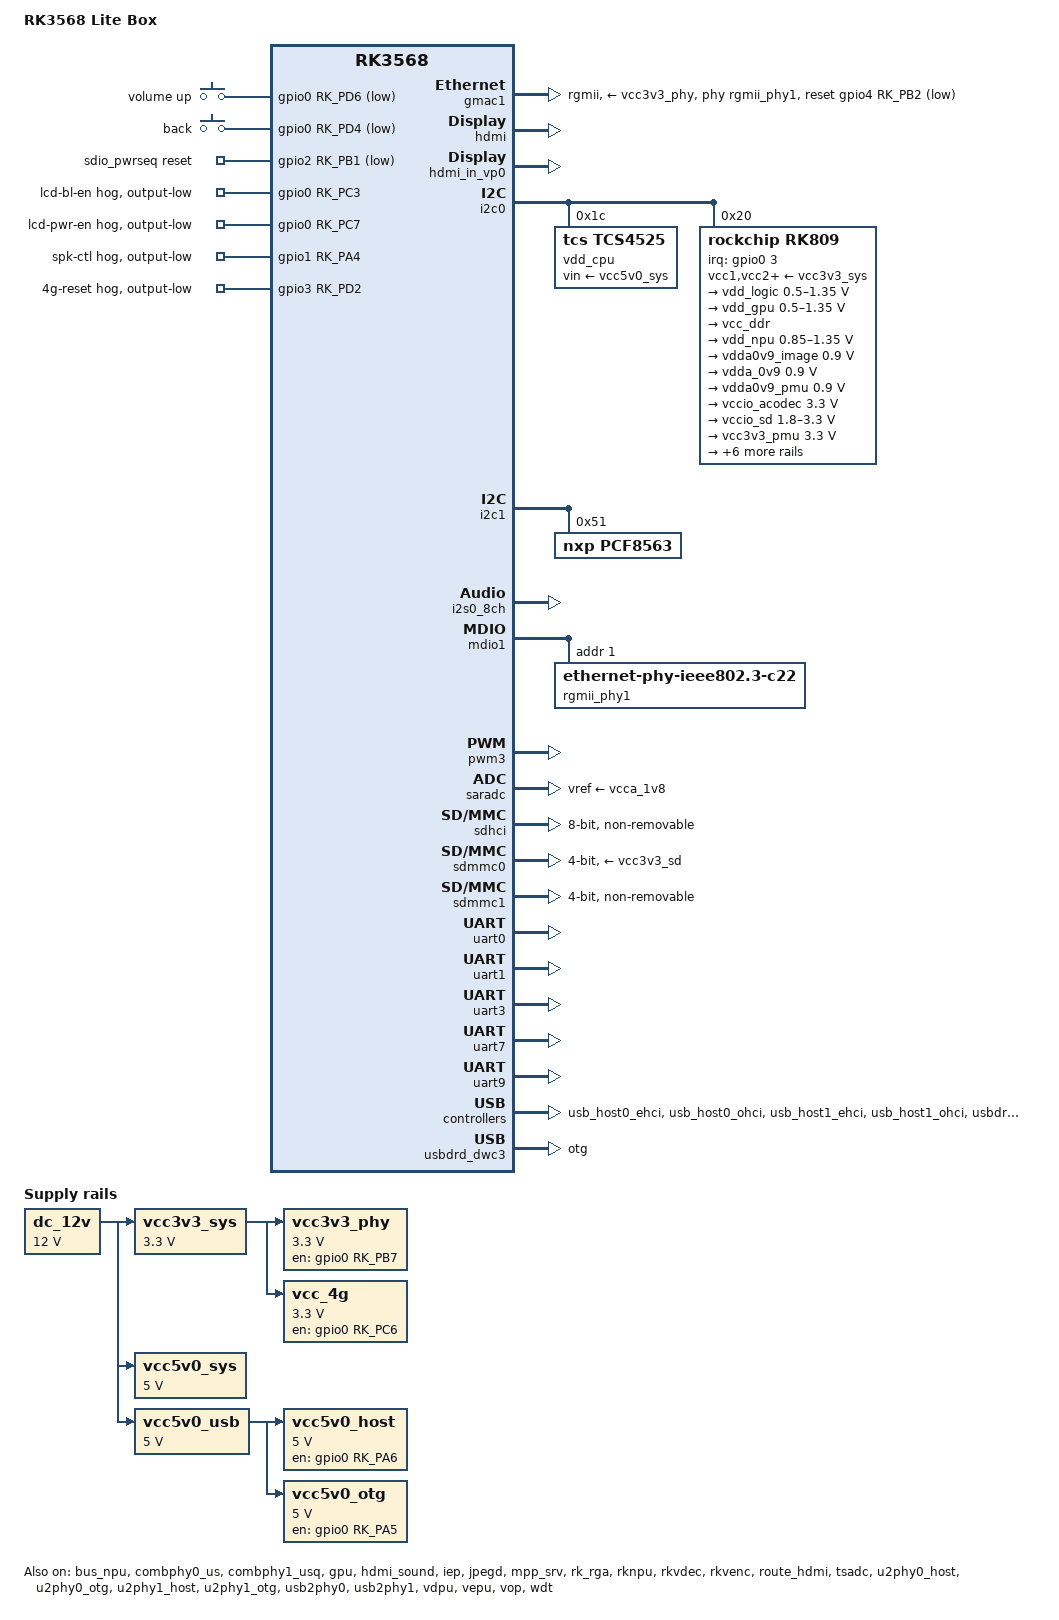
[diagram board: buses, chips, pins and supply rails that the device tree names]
// SPDX-License-Identifier: (GPL-2.0+ OR MIT)
/*
 * RK3568 Lite Box (vendor board "RK35-3500", HDMI variant)
 * Rockchip RK3568, 4GB LPDDR4X, 32GB eMMC, RK809 + TCS4525, RTL8211F, PCF8563
 *
 * Vendor model string: "Rockchip RK3568 RK35-3500 hdmi Board"
 * Vendor compatible:   "rockchip,rk3568-3500-lp4x-hdmi"
 *
 * Ported to the Rockchip 6.12 BSP kernel from the device tree of the vendor
 * 4.19 image (which itself is derived from rk3568-evb2-lp4x-v10). Everything
 * here was cross-checked against the running vendor system; EVB leftovers that
 * are not wired on this board were dropped, see the notes next to each node.
 */

/dts-v1/;

#include <dt-bindings/gpio/gpio.h>
#include <dt-bindings/input/input.h>
#include <dt-bindings/input/rk-input.h>
#include <dt-bindings/pinctrl/rockchip.h>
#include "rk3568.dtsi"
#include "rk3568-linux.dtsi"

/ {
	model = "RK3568 Lite Box";
	compatible = "rockchip,rk3568-3500-lp4x-hdmi", "rockchip,rk3568";

	/* bootargs come from U-Boot (boot.scr), not from the BSP default */
	/delete-node/ chosen;

	aliases {
		/* the only Ethernet port is on GMAC1 */
		ethernet0 = &gmac1;
		/delete-property/ ethernet1;

		/* the battery backed RTC is the PCF8563, not the one in the RK809 */
		rtc0 = &pcf8563;
		rtc1 = &rk809;

		/*
		 * Same /dev/ttyS* numbering as the vendor image, so that the
		 * port numbers used by existing applications stay valid:
		 *   ttyS0 = UART0, ttyS1 = UART1, ttyS2 = UART3,
		 *   ttyS3 = UART7, ttyS4 = UART9
		 * UART2 is the debug port (FIQ debugger, ttyFIQ0, 1500000 8N1).
		 */
		serial0 = &uart0;
		serial1 = &uart1;
		serial2 = &uart3;
		serial3 = &uart7;
		serial4 = &uart9;
		serial5 = &uart2;
		serial6 = &uart6;
		serial7 = &uart5;
		serial8 = &uart8;
		serial9 = &uart4;
	};

	/* serial5 is UART2 with the alias table above */
	fiq-debugger {
		rockchip,serial-id = <5>;
	};

	dc_12v: dc-12v {
		compatible = "regulator-fixed";
		regulator-name = "dc_12v";
		regulator-always-on;
		regulator-boot-on;
		regulator-min-microvolt = <12000000>;
		regulator-max-microvolt = <12000000>;
	};

	vcc3v3_sys: vcc3v3-sys {
		compatible = "regulator-fixed";
		regulator-name = "vcc3v3_sys";
		regulator-always-on;
		regulator-boot-on;
		regulator-min-microvolt = <3300000>;
		regulator-max-microvolt = <3300000>;
		vin-supply = <&dc_12v>;
	};

	vcc5v0_sys: vcc5v0-sys {
		compatible = "regulator-fixed";
		regulator-name = "vcc5v0_sys";
		regulator-always-on;
		regulator-boot-on;
		regulator-min-microvolt = <5000000>;
		regulator-max-microvolt = <5000000>;
		vin-supply = <&dc_12v>;
	};

	vcc5v0_usb: vcc5v0-usb {
		compatible = "regulator-fixed";
		regulator-name = "vcc5v0_usb";
		regulator-always-on;
		regulator-boot-on;
		regulator-min-microvolt = <5000000>;
		regulator-max-microvolt = <5000000>;
		vin-supply = <&dc_12v>;
	};

	vcc5v0_host: vcc5v0-host-regulator {
		compatible = "regulator-fixed";
		regulator-name = "vcc5v0_host";
		regulator-boot-on;
		regulator-always-on;
		regulator-min-microvolt = <5000000>;
		regulator-max-microvolt = <5000000>;
		enable-active-high;
		gpio = <&gpio0 RK_PA6 GPIO_ACTIVE_HIGH>;
		vin-supply = <&vcc5v0_usb>;
		pinctrl-names = "default";
		pinctrl-0 = <&vcc5v0_host_en>;
	};

	vcc5v0_otg: vcc5v0-otg-regulator {
		compatible = "regulator-fixed";
		regulator-name = "vcc5v0_otg";
		regulator-min-microvolt = <5000000>;
		regulator-max-microvolt = <5000000>;
		enable-active-high;
		gpio = <&gpio0 RK_PA5 GPIO_ACTIVE_HIGH>;
		vin-supply = <&vcc5v0_usb>;
		pinctrl-names = "default";
		pinctrl-0 = <&vcc5v0_otg_en>;
	};

	/*
	 * GPIO0_B7 is the "qsgmii_3v3" phy-supply of the vendor device tree
	 * (inherited from EVB2), and the vendor kernel drives it high all the
	 * time. The vendor GPIO test script also lists this pin as user GPIO 5,
	 * so it may not really switch the PHY rail. Ethernet is the only way
	 * into a headless box, so keep exactly the vendor behaviour: high.
	 */
	vcc3v3_phy: vcc3v3-phy-regulator {
		compatible = "regulator-fixed";
		regulator-name = "vcc3v3_phy";
		regulator-always-on;
		regulator-boot-on;
		regulator-min-microvolt = <3300000>;
		regulator-max-microvolt = <3300000>;
		enable-active-high;
		gpio = <&gpio0 RK_PB7 GPIO_ACTIVE_HIGH>;
		vin-supply = <&vcc3v3_sys>;
		pinctrl-names = "default";
		pinctrl-0 = <&vcc3v3_phy_en>;
	};

	/* power enable of the 4G modem slot ("4g_pwr_gpio" of the vendor phone_option driver) */
	vcc_4g: vcc-4g-regulator {
		compatible = "regulator-fixed";
		regulator-name = "vcc_4g";
		regulator-always-on;
		regulator-boot-on;
		regulator-min-microvolt = <3300000>;
		regulator-max-microvolt = <3300000>;
		enable-active-high;
		gpio = <&gpio0 RK_PC6 GPIO_ACTIVE_HIGH>;
		vin-supply = <&vcc3v3_sys>;
		pinctrl-names = "default";
		pinctrl-0 = <&vcc_4g_en>;
	};

	gpio-keys {
		compatible = "gpio-keys";
		autorepeat;
		pinctrl-names = "default";
		pinctrl-0 = <&user_keys>;

		key-volume-up {
			label = "volume up";
			linux,code = <KEY_VOLUMEUP>;
			gpios = <&gpio0 RK_PD6 GPIO_ACTIVE_LOW>;
		};

		key-back {
			label = "back";
			linux,code = <KEY_BACK>;
			gpios = <&gpio0 RK_PD4 GPIO_ACTIVE_LOW>;
		};
	};

	/*
	 * No "leds" node on purpose: the "work" LED of the vendor device tree
	 * sits on GPIO0_C0, which is the RX pin of UART0. On the vendor image
	 * that pin is muxed to UART0 (ttyS0 is a working port), so the LED
	 * definition is a dead leftover of the EVB. Add a gpio-leds node here
	 * once the GPIO of a real LED is known.
	 */

	/* optional SDIO Wi-Fi module (AP6212 footprint), not populated on every unit */
	sdio_pwrseq: sdio-pwrseq {
		compatible = "mmc-pwrseq-simple";
		clocks = <&rk809 1>;
		clock-names = "ext_clock";
		pinctrl-names = "default";
		pinctrl-0 = <&wifi_enable_h>;
		post-power-on-delay-ms = <200>;
		reset-gpios = <&gpio2 RK_PB1 GPIO_ACTIVE_LOW>;
	};
};

&bus_npu {
	bus-supply = <&vdd_logic>;
	pvtm-supply = <&vdd_cpu>;
	status = "okay";
};

&combphy0_us {
	status = "okay";
};

&combphy1_usq {
	status = "okay";
};

&cpu0 {
	cpu-supply = <&vdd_cpu>;
};

/*
 * &dmc (DDR frequency scaling) stays disabled: it never worked on the vendor
 * image either ("Cannot get the clk dmc_clk"), so the DDR runs at the fixed
 * frequency set up by the DDR init blob.
 */

/*
 * The GIC600 of the RK356x cannot access its LPI and ITS tables with the
 * shareable/cacheable attributes the driver asks for. Mainline flags both
 * nodes as dma-noncoherent, the 6.12 BSP rk356x.dtsi does not: without it
 * every ITS command times out (about 9s of extra boot time, no MSI).
 */
&gic {
	dma-noncoherent;
};

&its {
	dma-noncoherent;
};

&gmac1 {
	phy-mode = "rgmii";
	/* the 125MHz RGMII clock comes from the PHY (CLKOUT -> GPIO4_C1) */
	clock_in_out = "input";
	phy-supply = <&vcc3v3_phy>;

	snps,reset-gpio = <&gpio4 RK_PB2 GPIO_ACTIVE_LOW>;
	snps,reset-active-low;
	/* Reset time is 20ms, 100ms for rtl8211f */
	snps,reset-delays-us = <0 20000 100000>;

	assigned-clocks = <&cru SCLK_GMAC1_RX_TX>, <&cru SCLK_GMAC1>, <&cru CLK_MAC1_OUT>;
	assigned-clock-parents = <&cru SCLK_GMAC1_RGMII_SPEED>, <&gmac1_clkin>;
	assigned-clock-rates = <0>, <125000000>, <25000000>;

	pinctrl-names = "default";
	pinctrl-0 = <&gmac1m1_miim
		     &gmac1m1_tx_bus2
		     &gmac1m1_rx_bus2
		     &gmac1m1_rgmii_clk
		     &gmac1m1_rgmii_bus
		     &eth1m1_pins
		     &gmac1m1_clkinout>;

	/*
	 * The RTL8211F is strapped for no internal delay (TXDLY=0, RXDLY=0,
	 * read back from the PHY), both delays are added by the MAC.
	 */
	tx_delay = <0x4f>;
	rx_delay = <0x26>;

	phy-handle = <&rgmii_phy1>;
	status = "okay";
};

&gpio0 {
	/*
	 * LCD connector is unused on the HDMI variant: keep the panel supply
	 * (vcc3v3_lcd0_n) and the backlight enable low, like the vendor image.
	 */
	lcd-bl-en-hog {
		gpio-hog;
		gpios = <RK_PC3 GPIO_ACTIVE_HIGH>;
		output-low;
		line-name = "lcd-bl-en";
	};

	lcd-pwr-en-hog {
		gpio-hog;
		gpios = <RK_PC7 GPIO_ACTIVE_HIGH>;
		output-low;
		line-name = "lcd-pwr-en";
	};
};

&gpio1 {
	/*
	 * User GPIOs 1-4 of the vendor "ala-gpio" node / ala-test.sh
	 * (sysfs numbers 57..60 on the vendor kernel).
	 */
	gpio-line-names =
		/* A0-A7 */ "", "", "", "", "", "", "", "",
		/* B0-B7 */ "", "", "", "", "", "", "", "",
		/* C0-C7 */ "", "", "", "", "", "", "", "",
		/* D0-D7 */ "", "ala-gpio1", "ala-gpio2", "ala-gpio3", "ala-gpio4", "", "", "";

	/* speaker amplifier enable of the (unused) RK809 codec: off, like the vendor image */
	spk-ctl-hog {
		gpio-hog;
		gpios = <RK_PA4 GPIO_ACTIVE_HIGH>;
		output-low;
		line-name = "spk-ctl";
	};
};

&gpio3 {
	/* user GPIOs 6 and 7 (vendor sysfs numbers 121 and 123) */
	gpio-line-names =
		/* A0-A7 */ "", "", "", "", "", "", "", "",
		/* B0-B7 */ "", "", "", "", "", "", "", "",
		/* C0-C7 */ "", "", "", "", "", "", "", "",
		/* D0-D7 */ "", "ala-gpio6", "", "ala-gpio7", "", "", "", "";

	/* "4g_reset_gpio" of the vendor phone_option driver: keep the modem out of reset */
	modem-reset-hog {
		gpio-hog;
		gpios = <RK_PD2 GPIO_ACTIVE_HIGH>;
		output-low;
		line-name = "4g-reset";
	};
};

&gpio4 {
	/* user GPIO 8 (vendor sysfs number 154) */
	gpio-line-names =
		/* A0-A7 */ "", "", "", "", "", "", "", "",
		/* B0-B7 */ "", "", "", "", "", "", "", "",
		/* C0-C7 */ "", "", "", "", "", "", "", "",
		/* D0-D7 */ "", "", "ala-gpio8", "", "", "", "", "";
};

/* Mali-G52: driven by Panfrost (the Armbian vendor kernel does not build the Mali kbase driver) */
&gpu {
	mali-supply = <&vdd_gpu>;
	status = "okay";
};

&hdmi {
	status = "okay";
	rockchip,phy-table =
		<92812500  0x8009 0x0000 0x0270>,
		<165000000 0x800b 0x0000 0x026d>,
		<185625000 0x800b 0x0000 0x01ed>,
		<297000000 0x800b 0x0000 0x01ad>,
		<594000000 0x8029 0x0000 0x0088>,
		<000000000 0x0000 0x0000 0x0000>;
};

&hdmi_in_vp0 {
	status = "okay";
};

&hdmi_in_vp1 {
	status = "disabled";
};

&hdmi_sound {
	status = "okay";
};

&i2c0 {
	status = "okay";

	vdd_cpu: tcs4525@1c {
		compatible = "tcs,tcs4525";
		reg = <0x1c>;
		vin-supply = <&vcc5v0_sys>;
		regulator-compatible = "fan53555-reg";
		regulator-name = "vdd_cpu";
		regulator-min-microvolt = <712500>;
		regulator-max-microvolt = <1390000>;
		regulator-init-microvolt = <900000>;
		regulator-ramp-delay = <2300>;
		fcs,suspend-voltage-selector = <1>;
		regulator-boot-on;
		regulator-always-on;

		regulator-state-mem {
			regulator-off-in-suspend;
		};
	};

	rk809: pmic@20 {
		compatible = "rockchip,rk809";
		reg = <0x20>;
		interrupt-parent = <&gpio0>;
		interrupts = <3 IRQ_TYPE_LEVEL_LOW>;

		pinctrl-names = "default", "pmic-sleep",
				"pmic-power-off", "pmic-reset";
		pinctrl-0 = <&pmic_int>;
		pinctrl-1 = <&soc_slppin_slp>;
		pinctrl-2 = <&soc_slppin_gpio>;
		pinctrl-3 = <&soc_slppin_gpio>;

		rockchip,system-power-controller;
		wakeup-source;
		#clock-cells = <1>;
		clock-output-names = "rk808-clkout1", "rk808-clkout2";
		/* 1: rst regs (default in codes), 0: rst the pmic */
		pmic-reset-func = <0>;
		/* not save the PMIC_POWER_EN register in uboot */
		not-save-power-en = <1>;

		vcc1-supply = <&vcc3v3_sys>;
		vcc2-supply = <&vcc3v3_sys>;
		vcc3-supply = <&vcc3v3_sys>;
		vcc4-supply = <&vcc3v3_sys>;
		vcc5-supply = <&vcc3v3_sys>;
		vcc6-supply = <&vcc3v3_sys>;
		vcc7-supply = <&vcc3v3_sys>;
		vcc8-supply = <&vcc3v3_sys>;
		vcc9-supply = <&vcc3v3_sys>;

		pwrkey {
			status = "okay";
		};

		regulators {
			vdd_logic: DCDC_REG1 {
				regulator-always-on;
				regulator-boot-on;
				regulator-min-microvolt = <500000>;
				regulator-max-microvolt = <1350000>;
				regulator-init-microvolt = <900000>;
				regulator-ramp-delay = <6001>;
				regulator-initial-mode = <0x2>;
				regulator-name = "vdd_logic";

				regulator-state-mem {
					regulator-off-in-suspend;
				};
			};

			vdd_gpu: DCDC_REG2 {
				regulator-always-on;
				regulator-boot-on;
				regulator-min-microvolt = <500000>;
				regulator-max-microvolt = <1350000>;
				regulator-init-microvolt = <900000>;
				regulator-ramp-delay = <6001>;
				regulator-initial-mode = <0x2>;
				regulator-name = "vdd_gpu";

				regulator-state-mem {
					regulator-off-in-suspend;
				};
			};

			vcc_ddr: DCDC_REG3 {
				regulator-always-on;
				regulator-boot-on;
				regulator-initial-mode = <0x2>;
				regulator-name = "vcc_ddr";

				regulator-state-mem {
					regulator-on-in-suspend;
				};
			};

			/*
			 * The RK809 powers up with this rail at 0.5V and the
			 * mainline U-Boot used here does not touch the PMIC
			 * (the vendor loader raised it to 0.9V). The kernel
			 * ignores regulator-init-microvolt, so the lowest
			 * NPU OPP voltage is used as the minimum: the rail
			 * is then brought into range as soon as the PMIC
			 * probes. Powering the NPU domain at 0.5V panics
			 * the BSP kernel ("panic_on_set_idle").
			 */
			vdd_npu: DCDC_REG4 {
				regulator-always-on;
				regulator-boot-on;
				regulator-min-microvolt = <850000>;
				regulator-max-microvolt = <1350000>;
				regulator-init-microvolt = <900000>;
				regulator-ramp-delay = <6001>;
				regulator-initial-mode = <0x2>;
				regulator-name = "vdd_npu";

				regulator-state-mem {
					regulator-off-in-suspend;
				};
			};

			vdda0v9_image: LDO_REG1 {
				regulator-boot-on;
				regulator-always-on;
				regulator-min-microvolt = <900000>;
				regulator-max-microvolt = <900000>;
				regulator-name = "vdda0v9_image";

				regulator-state-mem {
					regulator-off-in-suspend;
				};
			};

			vdda_0v9: LDO_REG2 {
				regulator-always-on;
				regulator-boot-on;
				regulator-min-microvolt = <900000>;
				regulator-max-microvolt = <900000>;
				regulator-name = "vdda_0v9";

				regulator-state-mem {
					regulator-off-in-suspend;
				};
			};

			vdda0v9_pmu: LDO_REG3 {
				regulator-always-on;
				regulator-boot-on;
				regulator-min-microvolt = <900000>;
				regulator-max-microvolt = <900000>;
				regulator-name = "vdda0v9_pmu";

				regulator-state-mem {
					regulator-on-in-suspend;
					regulator-suspend-microvolt = <900000>;
				};
			};

			/* 3.3V on this board (EVB: 3.0V), it feeds the VCCIO1 domain */
			vccio_acodec: LDO_REG4 {
				regulator-always-on;
				regulator-boot-on;
				regulator-min-microvolt = <3300000>;
				regulator-max-microvolt = <3300000>;
				regulator-name = "vccio_acodec";

				regulator-state-mem {
					regulator-off-in-suspend;
				};
			};

			vccio_sd: LDO_REG5 {
				regulator-always-on;
				regulator-boot-on;
				regulator-min-microvolt = <1800000>;
				regulator-max-microvolt = <3300000>;
				regulator-name = "vccio_sd";

				regulator-state-mem {
					regulator-off-in-suspend;
				};
			};

			vcc3v3_pmu: LDO_REG6 {
				regulator-always-on;
				regulator-boot-on;
				regulator-min-microvolt = <3300000>;
				regulator-max-microvolt = <3300000>;
				regulator-name = "vcc3v3_pmu";

				regulator-state-mem {
					regulator-on-in-suspend;
					regulator-suspend-microvolt = <3300000>;
				};
			};

			vcca_1v8: LDO_REG7 {
				regulator-always-on;
				regulator-boot-on;
				regulator-min-microvolt = <1800000>;
				regulator-max-microvolt = <1800000>;
				regulator-name = "vcca_1v8";

				regulator-state-mem {
					regulator-off-in-suspend;
				};
			};

			vcca1v8_pmu: LDO_REG8 {
				regulator-always-on;
				regulator-boot-on;
				regulator-min-microvolt = <1800000>;
				regulator-max-microvolt = <1800000>;
				regulator-name = "vcca1v8_pmu";

				regulator-state-mem {
					regulator-on-in-suspend;
					regulator-suspend-microvolt = <1800000>;
				};
			};

			vcca1v8_image: LDO_REG9 {
				regulator-always-on;
				regulator-boot-on;
				regulator-min-microvolt = <1800000>;
				regulator-max-microvolt = <1800000>;
				regulator-name = "vcca1v8_image";

				regulator-state-mem {
					regulator-off-in-suspend;
				};
			};

			vcc_1v8: DCDC_REG5 {
				regulator-always-on;
				regulator-boot-on;
				regulator-min-microvolt = <1800000>;
				regulator-max-microvolt = <1800000>;
				regulator-name = "vcc_1v8";

				regulator-state-mem {
					regulator-off-in-suspend;
				};
			};

			vcc_3v3: SWITCH_REG1 {
				regulator-always-on;
				regulator-boot-on;
				regulator-name = "vcc_3v3";

				regulator-state-mem {
					regulator-off-in-suspend;
				};
			};

			vcc3v3_sd: SWITCH_REG2 {
				regulator-always-on;
				regulator-boot-on;
				regulator-name = "vcc3v3_sd";

				regulator-state-mem {
					regulator-off-in-suspend;
				};
			};
		};

		/*
		 * The RK809 audio codec is not used on this board (disabled
		 * in the vendor device tree as well), HDMI is the only sound
		 * output.
		 */
	};
};

&i2c1 {
	status = "okay";

	pcf8563: rtc@51 {
		compatible = "nxp,pcf8563";
		reg = <0x51>;
		#clock-cells = <0>;
		clock-output-names = "pcf8563_xin32k";
	};
};

/* HDMI audio */
&i2s0_8ch {
	status = "okay";
};

&iep {
	status = "okay";
};

&iep_mmu {
	status = "okay";
};

&jpegd {
	status = "okay";
};

&jpegd_mmu {
	status = "okay";
};

&mdio1 {
	/*
	 * RTL8211F, strapped to address 1 (it also answers on the broadcast
	 * address 0, which is what the vendor device tree used). Its 25MHz
	 * reference is the ETH1_REFCLKO_25M output of the SoC.
	 */
	rgmii_phy1: ethernet-phy@1 {
		compatible = "ethernet-phy-ieee802.3-c22";
		reg = <0x1>;
		clocks = <&cru CLK_MAC1_OUT>;
	};
};

&mpp_srv {
	status = "okay";
};

&pinctrl {
	keys {
		user_keys: user-keys {
			rockchip,pins =
				<0 RK_PD4 RK_FUNC_GPIO &pcfg_pull_up>,
				<0 RK_PD6 RK_FUNC_GPIO &pcfg_pull_up>;
		};
	};

	modem {
		vcc_4g_en: vcc-4g-en {
			rockchip,pins = <0 RK_PC6 RK_FUNC_GPIO &pcfg_pull_none>;
		};
	};

	net {
		vcc3v3_phy_en: vcc3v3-phy-en {
			rockchip,pins = <0 RK_PB7 RK_FUNC_GPIO &pcfg_pull_none>;
		};
	};

	pmic {
		pmic_int: pmic_int {
			rockchip,pins =
				<0 RK_PA3 RK_FUNC_GPIO &pcfg_pull_up>;
		};

		soc_slppin_gpio: soc_slppin_gpio {
			rockchip,pins =
				<0 RK_PA2 RK_FUNC_GPIO &pcfg_output_low>;
		};

		soc_slppin_slp: soc_slppin_slp {
			rockchip,pins =
				<0 RK_PA2 1 &pcfg_pull_none>;
		};

		soc_slppin_rst: soc_slppin_rst {
			rockchip,pins =
				<0 RK_PA2 2 &pcfg_pull_none>;
		};
	};

	sdio-pwrseq {
		wifi_enable_h: wifi-enable-h {
			rockchip,pins = <2 RK_PB1 RK_FUNC_GPIO &pcfg_pull_none>;
		};
	};

	usb {
		vcc5v0_host_en: vcc5v0-host-en {
			rockchip,pins = <0 RK_PA6 RK_FUNC_GPIO &pcfg_pull_none>;
		};

		vcc5v0_otg_en: vcc5v0-otg-en {
			rockchip,pins = <0 RK_PA5 RK_FUNC_GPIO &pcfg_pull_none>;
		};
	};
};

/*
 * PMUIO2 and VCCIO1/VCCIO[3:7] must match the hardware rails. These are the
 * values of the vendor device tree; note VCCIO4 is 1.8V on this board.
 */
&pmu_io_domains {
	status = "okay";
	pmuio2-supply = <&vcc3v3_pmu>;
	vccio1-supply = <&vccio_acodec>;
	vccio3-supply = <&vccio_sd>;
	vccio4-supply = <&vcc_1v8>;
	vccio5-supply = <&vcc_3v3>;
	vccio6-supply = <&vcc_3v3>;
	vccio7-supply = <&vcc_3v3>;
};

/* IR receiver on PWM3 (GPIO0_C2), key maps as in the vendor device tree */
&pwm3 {
	status = "okay";

	compatible = "rockchip,remotectl-pwm";
	remote_pwm_id = <3>;
	handle_cpu_id = <1>;
	remote_support_psci = <0>;
	pinctrl-names = "default";
	pinctrl-0 = <&pwm3_pins>;

	ir_key1 {
		rockchip,usercode = <0x4040>;
		rockchip,key_table =
			<0xf2	KEY_REPLY>,
			<0xba	KEY_BACK>,
			<0xf4	KEY_UP>,
			<0xf1	KEY_DOWN>,
			<0xef	KEY_LEFT>,
			<0xee	KEY_RIGHT>,
			<0xbd	KEY_HOME>,
			<0xea	KEY_VOLUMEUP>,
			<0xe3	KEY_VOLUMEDOWN>,
			<0xe2	KEY_SEARCH>,
			<0xb2	KEY_POWER>,
			<0xbc	KEY_MUTE>,
			<0xec	KEY_MENU>,
			<0xbf	0x190>,
			<0xe0	0x191>,
			<0xe1	0x192>,
			<0xe9	183>,
			<0xe6	248>,
			<0xe8	185>,
			<0xe7	186>,
			<0xf0	388>,
			<0xbe	0x175>;
	};

	ir_key2 {
		rockchip,usercode = <0xff00>;
		rockchip,key_table =
			<0xf9	KEY_HOME>,
			<0xbf	KEY_BACK>,
			<0xfb	KEY_MENU>,
			<0xaa	KEY_REPLY>,
			<0xb9	KEY_UP>,
			<0xe9	KEY_DOWN>,
			<0xb8	KEY_LEFT>,
			<0xea	KEY_RIGHT>,
			<0xeb	KEY_VOLUMEDOWN>,
			<0xef	KEY_VOLUMEUP>,
			<0xf7	KEY_MUTE>,
			<0xe7	KEY_POWER>,
			<0xfc	KEY_POWER>,
			<0xa9	KEY_VOLUMEDOWN>,
			<0xa8	KEY_VOLUMEDOWN>,
			<0xe0	KEY_VOLUMEDOWN>,
			<0xa5	KEY_VOLUMEDOWN>,
			<0xab	183>,
			<0xb7	388>,
			<0xe8	388>,
			<0xf8	184>,
			<0xaf	185>,
			<0xed	KEY_VOLUMEDOWN>,
			<0xee	186>,
			<0xb3	KEY_VOLUMEDOWN>,
			<0xf1	KEY_VOLUMEDOWN>,
			<0xf2	KEY_VOLUMEDOWN>,
			<0xf3	KEY_SEARCH>,
			<0xb4	KEY_VOLUMEDOWN>,
			<0xbe	KEY_SEARCH>;
	};

	ir_key3 {
		rockchip,usercode = <0x1dcc>;
		rockchip,key_table =
			<0xee	KEY_REPLY>,
			<0xf0	KEY_BACK>,
			<0xf8	KEY_UP>,
			<0xbb	KEY_DOWN>,
			<0xef	KEY_LEFT>,
			<0xed	KEY_RIGHT>,
			<0xfc	KEY_HOME>,
			<0xf1	KEY_VOLUMEUP>,
			<0xfd	KEY_VOLUMEDOWN>,
			<0xb7	KEY_SEARCH>,
			<0xff	KEY_POWER>,
			<0xf3	KEY_MUTE>,
			<0xbf	KEY_MENU>,
			<0xf9	0x191>,
			<0xf5	0x192>,
			<0xb3	388>,
			<0xbe	KEY_1>,
			<0xba	KEY_2>,
			<0xb2	KEY_3>,
			<0xbd	KEY_4>,
			<0xf9	KEY_5>,
			<0xb1	KEY_6>,
			<0xfc	KEY_7>,
			<0xf8	KEY_8>,
			<0xb0	KEY_9>,
			<0xb6	KEY_0>,
			<0xb5	KEY_BACKSPACE>;
	};
};

&rk_rga {
	status = "okay";
};

&rknpu {
	rknpu-supply = <&vdd_npu>;
	status = "okay";
};

&rknpu_mmu {
	/*
	 * Not read by the IOMMU driver. It only makes this device wait for
	 * the PMIC (fw_devlink): the IOMMU driver is initialised before the
	 * I2C/PMIC drivers and its probe is what first powers the NPU domain,
	 * which must not happen before vdd_npu has been raised (see vdd_npu).
	 */
	npu-supply = <&vdd_npu>;
	status = "okay";
};

&rkvdec {
	status = "okay";
};

&rkvdec_mmu {
	status = "okay";
};

&rkvenc {
	venc-supply = <&vdd_logic>;
	status = "okay";
};

&rkvenc_mmu {
	status = "okay";
};

&route_hdmi {
	status = "okay";
	connect = <&vp0_out_hdmi>;
};

&saradc {
	status = "okay";
	vref-supply = <&vcca_1v8>;
};

/* eMMC */
&sdhci {
	bus-width = <8>;
	no-sdio;
	no-sd;
	non-removable;
	max-frequency = <200000000>;
	full-pwr-cycle-in-suspend;
	status = "okay";
};

/* microSD slot */
&sdmmc0 {
	max-frequency = <150000000>;
	no-sdio;
	no-mmc;
	bus-width = <4>;
	cap-mmc-highspeed;
	cap-sd-highspeed;
	disable-wp;
	sd-uhs-sdr104;
	vmmc-supply = <&vcc3v3_sd>;
	vqmmc-supply = <&vccio_sd>;
	pinctrl-names = "default";
	pinctrl-0 = <&sdmmc0_bus4 &sdmmc0_clk &sdmmc0_cmd &sdmmc0_det>;
	status = "okay";
};

/* SDIO Wi-Fi module footprint (1.8V, VCCIO4) */
&sdmmc1 {
	max-frequency = <150000000>;
	no-sd;
	no-mmc;
	bus-width = <4>;
	disable-wp;
	cap-sd-highspeed;
	cap-sdio-irq;
	keep-power-in-suspend;
	mmc-pwrseq = <&sdio_pwrseq>;
	non-removable;
	pinctrl-names = "default";
	pinctrl-0 = <&sdmmc1_bus4 &sdmmc1_cmd &sdmmc1_clk>;
	sd-uhs-sdr104;
	status = "okay";
};

&tsadc {
	status = "okay";
};

&u2phy0_host {
	phy-supply = <&vcc5v0_host>;
	status = "okay";
};

&u2phy0_otg {
	vbus-supply = <&vcc5v0_otg>;
	status = "okay";
};

&u2phy1_host {
	phy-supply = <&vcc5v0_host>;
	status = "okay";
};

&u2phy1_otg {
	phy-supply = <&vcc5v0_host>;
	status = "okay";
};

/* ttyS0 */
&uart0 {
	status = "okay";
};

/* ttyS1, routed to the Bluetooth side of the optional Wi-Fi module */
&uart1 {
	pinctrl-names = "default";
	pinctrl-0 = <&uart1m0_xfer &uart1m0_ctsn &uart1m0_rtsn>;
	status = "okay";
};

/* ttyS2 */
&uart3 {
	pinctrl-names = "default";
	pinctrl-0 = <&uart3m0_xfer>;
	status = "okay";
};

/* ttyS3 */
&uart7 {
	pinctrl-names = "default";
	pinctrl-0 = <&uart7m1_xfer>;
	status = "okay";
};

/* ttyS4 */
&uart9 {
	pinctrl-names = "default";
	pinctrl-0 = <&uart9m1_xfer>;
	status = "okay";
};

/*
 * The 6.12 clock driver registers its own "usb480m_phy" mux, fed by
 * clk_usbphy0_480m/clk_usbphy1_480m like in mainline, while the BSP dtsi still
 * names the output of usb2phy0 "usb480m_phy". The name clash makes the PHY
 * fail to probe (-EEXIST), which takes both USB3 controllers down with it.
 */
&usb2phy0 {
	clock-output-names = "clk_usbphy0_480m";
	assigned-clocks = <&cru USB480M>;
	assigned-clock-parents = <&cru USB480M_PHY>;
	status = "okay";
};

&usb2phy1 {
	clock-output-names = "clk_usbphy1_480m";
	status = "okay";
};

&usb_host0_ehci {
	status = "okay";
};

&usb_host0_ohci {
	status = "okay";
};

&usb_host1_ehci {
	status = "okay";
};

&usb_host1_ohci {
	status = "okay";
};

&usbdrd30 {
	status = "okay";
};

&usbdrd_dwc3 {
	dr_mode = "otg";
	extcon = <&usb2phy0>;
	status = "okay";
};

&usbhost30 {
	status = "okay";
};

&usbhost_dwc3 {
	status = "okay";
};

&vdpu {
	status = "okay";
};

&vdpu_mmu {
	status = "okay";
};

&vepu {
	status = "okay";
};

&vepu_mmu {
	status = "okay";
};

&vop {
	status = "okay";
	vop-supply = <&vdd_logic>;
	assigned-clocks = <&cru DCLK_VOP0>, <&cru DCLK_VOP1>, <&cru DCLK_VOP2>;
	assigned-clock-parents = <&pmucru PLL_HPLL>, <&cru PLL_VPLL>, <&cru PLL_GPLL>;
};

&vop_mmu {
	status = "okay";
};

&wdt {
	status = "okay";
};
